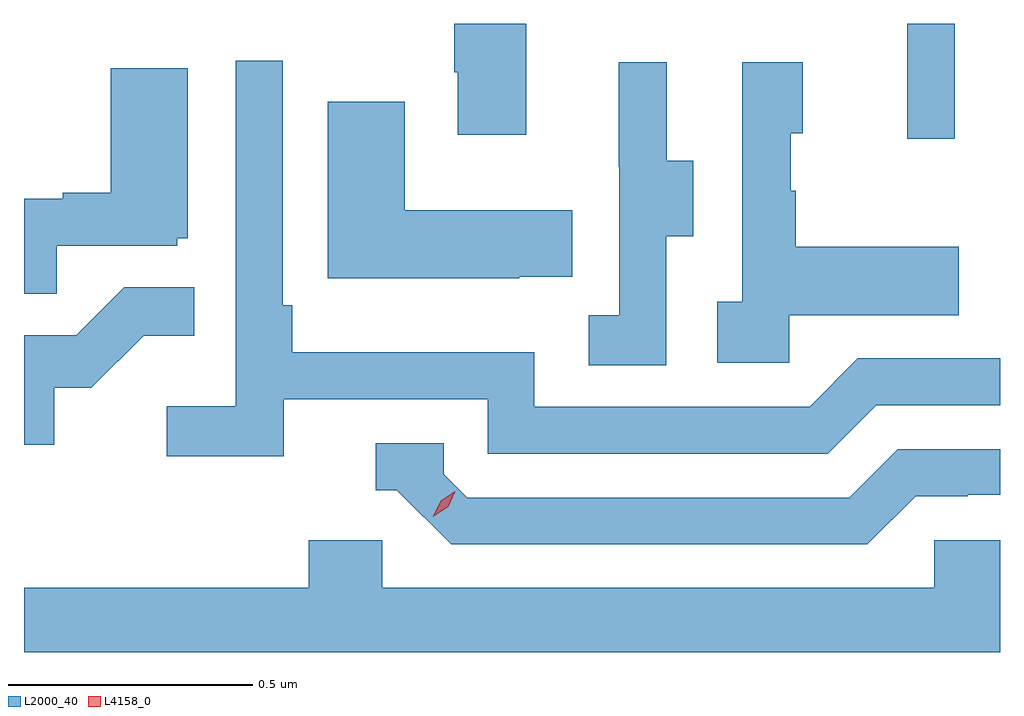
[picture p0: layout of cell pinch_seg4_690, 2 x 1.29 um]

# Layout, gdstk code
import gdstk
lib = gdstk.Library(unit=1e-6, precision=1e-09)
def R(c, l, rs):  # rectangles x0, y0, x1, y1
    for r in rs: c.add(gdstk.rectangle(r[:2], r[2:], *l))
def P(c, l, *ps):  # polygons
    for p in ps: c.add(gdstk.Polygon(p, *l))
L2000_40 = (2000, 40)
L4158_0 = (4158, 0)

pinch_seg4_690 = lib.new_cell('pinch_seg4_690')
R(pinch_seg4_690, L2000_40, [(1087.832,749.952,1087.929,750.188)])
P(pinch_seg4_690, L2000_40, [(1087.051,750.188),(1086.904,750.188),(1086.904,750.089),(1086.911,750.089),(1086.911,749.961),(1087.051,749.961)],
  [(1086.554,749.418),(1086.972,749.418),(1086.972,749.307),(1087.669,749.307),(1087.768,749.406),(1088.022,749.406),(1088.022,749.502),(1087.731,749.502),(1087.632,749.403),(1087.068,749.403),(1087.068,749.515),(1086.572,749.515),(1086.572,749.611),(1086.552,749.611),(1086.552,750.112),(1086.456,750.112),(1086.456,749.404),(1086.315,749.404),(1086.315,749.302),(1086.554,749.302)],
  [(1087.59,749.591),(1087.937,749.591),(1087.937,749.731),(1087.603,749.731),(1087.603,749.846),(1087.593,749.846),(1087.593,749.964),(1087.618,749.964),(1087.618,750.109),(1087.494,750.109),(1087.494,749.618),(1087.443,749.618),(1087.443,749.493),(1087.59,749.493)],
  [(1087.338,749.752),(1087.393,749.752),(1087.393,749.907),(1087.339,749.907),(1087.339,750.109),(1087.241,750.109),(1087.241,749.895),(1087.242,749.895),(1087.242,749.591),(1087.179,749.591),(1087.179,749.488),(1087.338,749.488)],
  [(1086.089,749.733),(1086.336,749.733),(1086.336,749.748),(1086.358,749.748),(1086.358,750.097),(1086.2,750.097),(1086.2,749.842),(1086.101,749.842),(1086.101,749.829),(1086.022,749.829),(1086.022,749.635),(1086.089,749.635)],
  [(1087.037,749.669),(1087.145,749.669),(1087.145,749.806),(1086.802,749.806),(1086.802,750.028),(1086.644,750.028),(1086.644,749.666),(1087.037,749.666)],
  [(1086.084,749.442),(1086.16,749.442),(1086.267,749.549),(1086.371,749.549),(1086.371,749.648),(1086.227,749.648),(1086.129,749.55),(1086.022,749.55),(1086.022,749.325),(1086.084,749.325)],
  [(1087.849,749.22),(1087.956,749.22),(1087.956,749.223),(1088.022,749.223),(1088.022,749.316),(1087.812,749.316),(1087.713,749.217),(1086.93,749.217),(1086.882,749.265),(1086.882,749.328),(1086.743,749.328),(1086.743,749.232),(1086.786,749.232),(1086.897,749.121),(1087.75,749.121)],
  [(1088.022,749.13),(1087.887,749.13),(1087.887,749.032),(1086.756,749.032),(1086.756,749.13),(1086.605,749.13),(1086.605,749.032),(1086.022,749.032),(1086.022,748.9),(1088.022,748.9)])
P(pinch_seg4_690, L4158_0, [(1086.86,749.178),(1086.86,749.178),(1086.876,749.211),(1086.906,749.23),(1086.906,749.23),(1086.906,749.23),(1086.891,749.198),(1086.86,749.178)])

lib.write_gds('pinch_seg4_690.gds')
